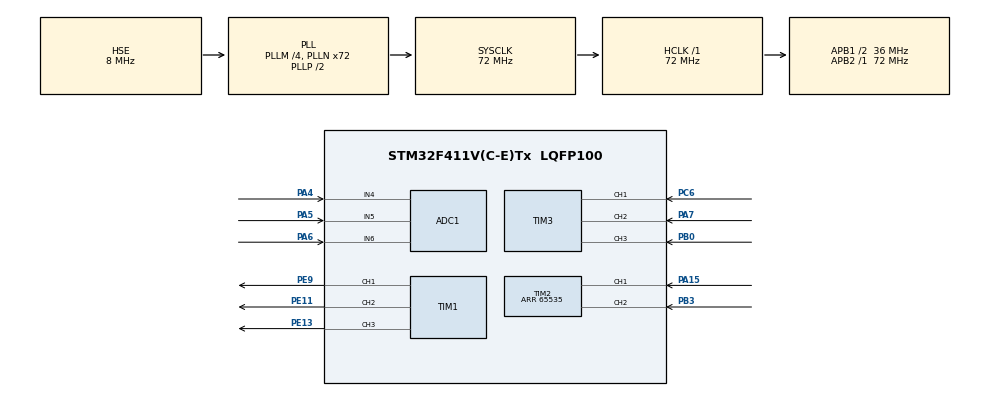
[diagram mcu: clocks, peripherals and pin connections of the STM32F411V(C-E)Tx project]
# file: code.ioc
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ADC1.Channel-1\#ChannelRegularConversion=ADC_CHANNEL_4
ADC1.NbrOfConversionFlag=1
ADC1.Rank-1\#ChannelRegularConversion=1
ADC1.SamplingTime-1\#ChannelRegularConversion=ADC_SAMPLETIME_3CYCLES
ADC1.master=1
Mcu.Family=STM32F4
Mcu.Name=STM32F411V(C-E)Tx
Mcu.Package=LQFP100
NVIC.PriorityGroup=NVIC_PRIORITYGROUP_0
NVIC.TIM3_IRQn=true\:0\:0\:false\:false\:true\:true\:true\:true
PA15.Signal=S_TIM2_CH1_ETR
PA4.Signal=ADCx_IN4
PA5.Signal=ADCx_IN5
PA6.Signal=ADCx_IN6
PA7.Signal=S_TIM3_CH2
PB0.Signal=S_TIM3_CH3
PB3.Signal=S_TIM2_CH2
PC6.Signal=S_TIM3_CH1
PE11.Signal=S_TIM1_CH2
PE13.Signal=S_TIM1_CH3
PE9.Signal=S_TIM1_CH1
PH0\ -\ OSC_IN.Mode=HSE-External-Oscillator
PH0\ -\ OSC_IN.Signal=RCC_OSC_IN
PH1\ -\ OSC_OUT.GPIO_Label=PH1-OSC_OUT
PH1\ -\ OSC_OUT.Mode=HSE-External-Oscillator
PH1\ -\ OSC_OUT.Signal=RCC_OSC_OUT
ProjectManager.HeapSize=0x200
ProjectManager.StackSize=0x400
ProjectManager.TargetToolchain=STM32CubeIDE
RCC.48MHZClocksFreq_Value=18000000
RCC.AHBFreq_Value=72000000
RCC.APB1CLKDivider=RCC_HCLK_DIV2
RCC.APB1Freq_Value=36000000
RCC.APB1TimFreq_Value=72000000
RCC.APB2Freq_Value=72000000
RCC.APB2TimFreq_Value=72000000
RCC.CortexFreq_Value=72000000
RCC.HCLKFreq_Value=72000000
RCC.HSE_VALUE=8000000
RCC.HSI_VALUE=16000000
RCC.LSE_VALUE=32768
RCC.PLLI2SM=5
RCC.PLLI2SN=200
RCC.PLLM=4
RCC.PLLN=72
RCC.PLLQ=8
RCC.PLLSourceVirtual=RCC_PLLSOURCE_HSE
RCC.SYSCLKFreq_VALUE=72000000
RCC.SYSCLKSource=RCC_SYSCLKSOURCE_PLLCLK
RCC.VCOOutputFreq_Value=144000000
SH.ADCx_IN4.0=ADC1_IN4,IN4
SH.ADCx_IN5.0=ADC1_IN5,IN5
SH.ADCx_IN6.0=ADC1_IN6,IN6
SH.S_TIM1_CH1.0=TIM1_CH1,PWM Generation1 CH1
SH.S_TIM1_CH2.0=TIM1_CH2,PWM Generation2 CH2
SH.S_TIM1_CH3.0=TIM1_CH3,PWM Generation3 CH3
SH.S_TIM2_CH1_ETR.0=TIM2_CH1,Encoder_Interface
SH.S_TIM2_CH2.0=TIM2_CH2,Encoder_Interface
SH.S_TIM3_CH1.0=TIM3_CH1,Input_Capture1_from_TI1
SH.S_TIM3_CH2.0=TIM3_CH2,Input_Capture2_from_TI2
SH.S_TIM3_CH3.0=TIM3_CH3,Input_Capture3_from_TI3
TIM1.Channel-PWM\ Generation1\ CH1=TIM_CHANNEL_1
TIM1.Channel-PWM\ Generation2\ CH2=TIM_CHANNEL_2
TIM1.Channel-PWM\ Generation3\ CH3=TIM_CHANNEL_3
TIM2.AutoReloadPreload=TIM_AUTORELOAD_PRELOAD_ENABLE
TIM2.EncoderMode=TIM_ENCODERMODE_TI12
TIM2.IC2Filter=10
TIM2.Period=65535
TIM3.AutoReloadPreload=TIM_AUTORELOAD_PRELOAD_ENABLE
TIM3.Channel-Input_Capture1_from_TI1=TIM_CHANNEL_1
TIM3.Channel-Input_Capture2_from_TI2=TIM_CHANNEL_2
TIM3.Channel-Input_Capture3_from_TI3=TIM_CHANNEL_3
VP_TIM3_VS_ClockSourceINT.Mode=Internal
board=STM32F411E-DISCO

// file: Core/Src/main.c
/* USER CODE BEGIN Header */
/**
  ******************************************************************************
  * @file           : main.c
  * @brief          : Main program body
  ******************************************************************************
  * @attention
  *
  * Copyright (c) 2024 STMicroelectronics.
  * All rights reserved.
  *
  * This software is licensed under terms that can be found in the LICENSE file
  * in the root directory of this software component.
  * If no LICENSE file comes with this software, it is provided AS-IS.
  *
  ******************************************************************************
  */
/* USER CODE END Header */
#include "main.h"
#include "adc.h"
#include "tim.h"
#include "gpio.h"

/* USER CODE BEGIN Includes */
#include "motorcontrol.h"
#include "picontrol.h"
/* USER CODE END Includes */

/* USER CODE BEGIN PV */
 float Valpha;
 float Vbeta;
 float Ia;
 float Ib;
 float Ic;
 float adcBuffer[3];
 float theta;
 float motor_speed=0.0;
 int ENCODER_RESOLUTION=0;
 float sp_ref=0.0f;
 float sp=0.0f;
 float Idref = 0.0f;
 float Iqref = 0.0f;
 float Id = 0.0f;
 float Iq = 0.0f;
 float theta = 0.0f;
 float Vd = 0.0f;
 float Vq = 0.0f;
 float Valpha;
 float Vbeta;
 float Va=0.0f;
 float Vb=0.0f;
 float Vc=0.0f;
 int current_capture = 0;
 int capture_difference = 0;
 int previous_capture[3]={0,0,0};
/* USER CODE END PV */

void SystemClock_Config(void);

int main(void)
{

  /* MCU Configuration--------------------------------------------------------*/

  /* Reset of all peripherals, Initializes the Flash interface and the Systick. */
  HAL_Init();

  /* Configure the system clock */
  SystemClock_Config();

  /* Initialize all configured peripherals */
  MX_GPIO_Init();
  MX_TIM1_Init();
  MX_ADC1_Init();
  MX_TIM2_Init();
  MX_TIM3_Init();
  /* USER CODE BEGIN 2 */
  HAL_ADC_Start_DMA(&hadc1, &adcBuffer,3);//current
  HAL_TIM_Encoder_Start(&htim2, TIM_CHANNEL_ALL);//theta
  HAL_TIM_IC_Start(&htim3, TIM_CHANNEL_1);//speed
  /* USER CODE END 2 */

  /* Infinite loop */
  /* USER CODE BEGIN WHILE */
  while (1)
  {
	  motorcontrol();
    /* USER CODE END WHILE */

  }
}

void SystemClock_Config(void)
{
  RCC_OscInitTypeDef RCC_OscInitStruct = {0};
  RCC_ClkInitTypeDef RCC_ClkInitStruct = {0};

  /** Configure the main internal regulator output voltage
  */
  __HAL_RCC_PWR_CLK_ENABLE();
  __HAL_PWR_VOLTAGESCALING_CONFIG(PWR_REGULATOR_VOLTAGE_SCALE1);

  /** Initializes the RCC Oscillators according to the specified parameters
  * in the RCC_OscInitTypeDef structure.
  */
  RCC_OscInitStruct.OscillatorType = RCC_OSCILLATORTYPE_HSE;
  RCC_OscInitStruct.HSEState = RCC_HSE_ON;
  RCC_OscInitStruct.PLL.PLLState = RCC_PLL_ON;
  RCC_OscInitStruct.PLL.PLLSource = RCC_PLLSOURCE_HSE;
  RCC_OscInitStruct.PLL.PLLM = 4;
  RCC_OscInitStruct.PLL.PLLN = 72;
  RCC_OscInitStruct.PLL.PLLP = RCC_PLLP_DIV2;
  RCC_OscInitStruct.PLL.PLLQ = 8;
  if (HAL_RCC_OscConfig(&RCC_OscInitStruct) != HAL_OK)
  {
    Error_Handler();
  }

  /** Initializes the CPU, AHB and APB buses clocks
  */
  RCC_ClkInitStruct.ClockType = RCC_CLOCKTYPE_HCLK|RCC_CLOCKTYPE_SYSCLK
                              |RCC_CLOCKTYPE_PCLK1|RCC_CLOCKTYPE_PCLK2;
  RCC_ClkInitStruct.SYSCLKSource = RCC_SYSCLKSOURCE_PLLCLK;
  RCC_ClkInitStruct.AHBCLKDivider = RCC_SYSCLK_DIV1;
  RCC_ClkInitStruct.APB1CLKDivider = RCC_HCLK_DIV2;
  RCC_ClkInitStruct.APB2CLKDivider = RCC_HCLK_DIV1;

  if (HAL_RCC_ClockConfig(&RCC_ClkInitStruct, FLASH_LATENCY_2) != HAL_OK)
  {
    Error_Handler();
  }
}

void Error_Handler(void)
{
  __disable_irq();
  while (1)
  {
  }
}
